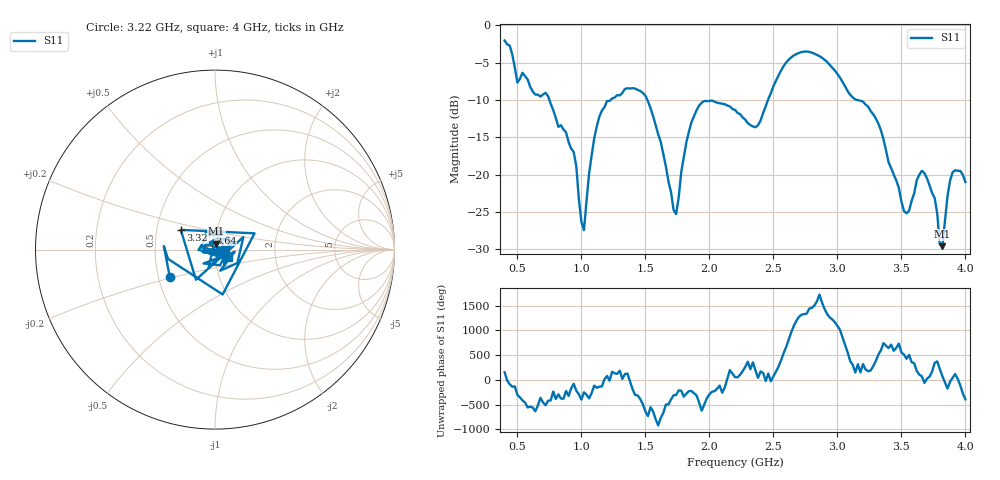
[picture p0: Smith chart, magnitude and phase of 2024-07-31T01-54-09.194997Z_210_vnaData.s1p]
!Created with skrf (http://scikit-rf.org).
# Hz S RI R 50.0
!freq ReS11 ImS11
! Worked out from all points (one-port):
!   181 points, 400 MHz to 4 GHz, reference 50 ohm
!   lowest |S11| = -29.6 dB at 3.82 GHz (marker M1), VSWR 1.07, Z = 50.6 + j3.3 ohm
!   |S11| at or under -10 dB: 750.1 MHz to 1.228 GHz (477.4 MHz wide, 48.3 % of centre); 1.515 GHz to 2.458 GHz (942.2 MHz wide, 47.4 % of centre); 3.158 GHz to end of sweep
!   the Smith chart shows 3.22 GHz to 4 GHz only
!   S11 on the Smith chart (normalised r, x): 3.22 GHz: 0.57, -0.19; 3.32 GHz: 0.67, +0.15; 3.64 GHz: 0.92, +0.18; 4 GHz: 1.16, -0.11
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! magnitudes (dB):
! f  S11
! 400 MHz  -2.0
! 500 MHz  -7.7
! 720 MHz  -9.0
! 860 MHz  -14.0
! 940 MHz  -17.0
! 1.02 GHz  -27.4
! 1.06 GHz  -19.9
! 1.14 GHz  -12.2
! 1.3 GHz  -9.4
! 1.5 GHz  -9.4
! 1.62 GHz  -15.6
! 1.72 GHz  -24.7
! 1.76 GHz  -23.0
! 1.82 GHz  -15.7
! 1.92 GHz  -10.7
! 2.2 GHz  -11.3
! 2.38 GHz  -13.4
! 2.66 GHz  -4.0
! 2.88 GHz  -4.4
! 3.1 GHz  -9.3
! 3.22 GHz  -10.6
! 3.32 GHz  -13.2
! 3.56 GHz  -24.8
! 3.64 GHz  -20.0
! 3.76 GHz  -23.1
! 3.82 GHz  -29.6
! 3.9 GHz  -19.7
! 4 GHz  -21.0
